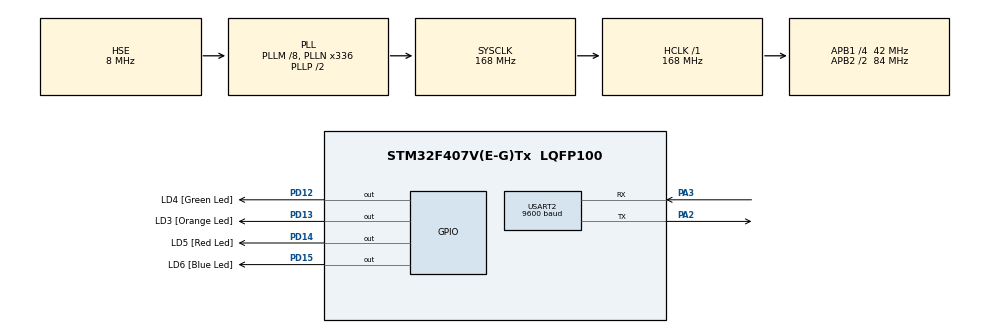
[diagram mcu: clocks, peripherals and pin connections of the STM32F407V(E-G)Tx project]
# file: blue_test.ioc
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Mcu.Family=STM32F4
Mcu.Name=STM32F407V(E-G)Tx
Mcu.Package=LQFP100
NVIC.PriorityGroup=NVIC_PRIORITYGROUP_0
NVIC.USART2_IRQn=true\:0\:0\:false\:false\:true\:true\:true
PA2.Mode=Asynchronous
PA2.Signal=USART2_TX
PA3.Mode=Asynchronous
PA3.Signal=USART2_RX
PC14-OSC32_IN.GPIO_Label=PC14-OSC32_IN
PC14-OSC32_IN.Mode=LSE-External-Oscillator
PC14-OSC32_IN.Signal=RCC_OSC32_IN
PC15-OSC32_OUT.GPIO_Label=PC15-OSC32_OUT
PC15-OSC32_OUT.Mode=LSE-External-Oscillator
PC15-OSC32_OUT.Signal=RCC_OSC32_OUT
PD12.GPIO_Label=LD4 [Green Led]
PD12.GPIO_PuPd=GPIO_NOPULL
PD12.GPIO_Speed=GPIO_SPEED_FREQ_LOW
PD12.Signal=GPIO_Output
PD13.GPIO_Label=LD3 [Orange Led]
PD13.GPIO_PuPd=GPIO_NOPULL
PD13.GPIO_Speed=GPIO_SPEED_FREQ_LOW
PD13.Signal=GPIO_Output
PD14.GPIO_Label=LD5 [Red Led]
PD14.GPIO_PuPd=GPIO_NOPULL
PD14.GPIO_Speed=GPIO_SPEED_FREQ_LOW
PD14.Signal=GPIO_Output
PD15.GPIO_Label=LD6 [Blue Led]
PD15.GPIO_PuPd=GPIO_NOPULL
PD15.GPIO_Speed=GPIO_SPEED_FREQ_LOW
PD15.Signal=GPIO_Output
PH0-OSC_IN.GPIO_Label=PH0-OSC_IN
PH0-OSC_IN.Mode=HSE-External-Oscillator
PH0-OSC_IN.Signal=RCC_OSC_IN
PH1-OSC_OUT.GPIO_Label=PH1-OSC_OUT
PH1-OSC_OUT.Mode=HSE-External-Oscillator
PH1-OSC_OUT.Signal=RCC_OSC_OUT
ProjectManager.HeapSize=0x200
ProjectManager.StackSize=0x400
ProjectManager.TargetToolchain=STM32CubeIDE
RCC.48MHZClocksFreq_Value=48000000
RCC.AHBFreq_Value=168000000
RCC.APB1CLKDivider=RCC_HCLK_DIV4
RCC.APB1Freq_Value=42000000
RCC.APB1TimFreq_Value=84000000
RCC.APB2CLKDivider=RCC_HCLK_DIV2
RCC.APB2Freq_Value=84000000
RCC.APB2TimFreq_Value=168000000
RCC.CortexFreq_Value=168000000
RCC.HCLKFreq_Value=168000000
RCC.HSE_VALUE=8000000
RCC.HSI_VALUE=16000000
RCC.PLLM=8
RCC.PLLN=336
RCC.PLLQ=7
RCC.PLLSourceVirtual=RCC_PLLSOURCE_HSE
RCC.SYSCLKFreq_VALUE=168000000
RCC.SYSCLKSource=RCC_SYSCLKSOURCE_PLLCLK
RCC.VCOOutputFreq_Value=336000000
USART2.BaudRate=9600
USART2.VirtualMode=VM_ASYNC
board=STM32F407G-DISC1

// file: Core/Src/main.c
/* USER CODE BEGIN Header */
/**
  ******************************************************************************
  * @file           : main.c
  * @brief          : Main program body
  ******************************************************************************
  * @attention
  *
  * <h2><center>&copy; Copyright (c) 2021 STMicroelectronics.
  * All rights reserved.</center></h2>
  *
  * This software component is licensed by ST under Ultimate Liberty license
  * SLA0044, the "License"; You may not use this file except in compliance with
  * the License. You may obtain a copy of the License at:
  *                             www.st.com/SLA0044
  *
  ******************************************************************************
  */
/* USER CODE END Header */
#include "main.h"
#include "usart.h"
#include "gpio.h"

/* USER CODE BEGIN Includes */
#include "usart_ring.h"
/* USER CODE END Includes */

/* USER CODE BEGIN PV */

UART_HandleTypeDef* blue_tooth_uart = NULL;

//#define buf_size (60)
//size_t  curr_index = 0;
//
//char buffer[buf_size]={0};

/* USER CODE END PV */

void SystemClock_Config(void);

/* USER CODE BEGIN 0 */

//void HAL_UART_RxCpltCallback(UART_HandleTypeDef *huart)
//
//{
//  if(huart==blue_tooth_uart)
//  {
//    if (buffer[curr_index] == 0x0a) { // отримали символ переносу рядка (тобто рядок введено)
//
//      buffer[curr_index] = 0;  // міняємо символ нового рядка на нуль-символ
//
//    //  do_command(buffer);  // виконуємо якусь команду
//
//      HAL_GPIO_TogglePin(GPIOD, GPIO_PIN_15);
//      HAL_UART_Transmit(blue_tooth_uart,(uint8_t*)buffer, curr_index-1, 1000);
//      curr_index = 0;
//    }
//    else if (curr_index == (buf_size-1)) // заповнили весь буфер, а кінець рядка не прийшов - значить почитаємо знову з початку
//      curr_index = 0;
//    else
//      curr_index++;  // виставляємо в наступну позицію буфера
//
//    HAL_UART_Receive_IT(blue_tooth_uart,(uint8_t*)(buffer + curr_index),1);
//  }
//}

/* USER CODE END 0 */

int main(void)
{

  /* MCU Configuration--------------------------------------------------------*/

  /* Reset of all peripherals, Initializes the Flash interface and the Systick. */
  HAL_Init();

  /* Configure the system clock */
  SystemClock_Config();

  /* Initialize all configured peripherals */
  MX_GPIO_Init();
  MX_USART2_UART_Init();
  /* USER CODE BEGIN 2 */
//  char buf[4];
//  HAL_UART_Receive(&MYUART, (uint8_t*) buf, 4, 100000);
//  __HAL_UART_ENABLE_IT(&MYUART, UART_IT_RXNE); // включить прерывания usart'a

//  #define SIZE_BF 32
  /* USER CODE END 2 */

  /* Infinite loop */
  /* USER CODE BEGIN WHILE */

//  HAL_Delay(500);
//  __HAL_UART_ENABLE_IT(blue_tooth_uart, UART_IT_RXNE);
//  HAL_Delay(100);
//  blue_tooth_uart = &huart2;
//  HAL_UART_Receive_IT(blue_tooth_uart,(uint8_t*)buffer,1);

  while (1)
  {
		uint8_t command;
		HAL_UART_Receive(&MYUART, &command,  sizeof command, 0xffff); // отправляем обратно что получили

		switch (command) {
		case 49:
			HAL_UART_Transmit(&MYUART,(uint8_t*)"hello", 5, 1000);
			break;
		case 50:
			HAL_UART_Transmit(&MYUART,(uint8_t*)"2", 1, 1000);
			break;
		case 51:
			HAL_UART_Transmit(&MYUART,(uint8_t*)"64736", 5, 1000);
			break;
		case 52:
			HAL_UART_Transmit(&MYUART,(uint8_t*)"224", 3, 1000);
			break;
		case 53:
			HAL_UART_Transmit(&MYUART,(uint8_t*)"5000", 4, 1000);
			break;
		}
    /* USER CODE END WHILE */

	}
}

void SystemClock_Config(void)
{
  RCC_OscInitTypeDef RCC_OscInitStruct = {0};
  RCC_ClkInitTypeDef RCC_ClkInitStruct = {0};

  /** Configure the main internal regulator output voltage
  */
  __HAL_RCC_PWR_CLK_ENABLE();
  __HAL_PWR_VOLTAGESCALING_CONFIG(PWR_REGULATOR_VOLTAGE_SCALE1);
  /** Initializes the RCC Oscillators according to the specified parameters
  * in the RCC_OscInitTypeDef structure.
  */
  RCC_OscInitStruct.OscillatorType = RCC_OSCILLATORTYPE_HSE;
  RCC_OscInitStruct.HSEState = RCC_HSE_ON;
  RCC_OscInitStruct.PLL.PLLState = RCC_PLL_ON;
  RCC_OscInitStruct.PLL.PLLSource = RCC_PLLSOURCE_HSE;
  RCC_OscInitStruct.PLL.PLLM = 8;
  RCC_OscInitStruct.PLL.PLLN = 336;
  RCC_OscInitStruct.PLL.PLLP = RCC_PLLP_DIV2;
  RCC_OscInitStruct.PLL.PLLQ = 7;
  if (HAL_RCC_OscConfig(&RCC_OscInitStruct) != HAL_OK)
  {
    Error_Handler();
  }
  /** Initializes the CPU, AHB and APB buses clocks
  */
  RCC_ClkInitStruct.ClockType = RCC_CLOCKTYPE_HCLK|RCC_CLOCKTYPE_SYSCLK
                              |RCC_CLOCKTYPE_PCLK1|RCC_CLOCKTYPE_PCLK2;
  RCC_ClkInitStruct.SYSCLKSource = RCC_SYSCLKSOURCE_PLLCLK;
  RCC_ClkInitStruct.AHBCLKDivider = RCC_SYSCLK_DIV1;
  RCC_ClkInitStruct.APB1CLKDivider = RCC_HCLK_DIV4;
  RCC_ClkInitStruct.APB2CLKDivider = RCC_HCLK_DIV2;

  if (HAL_RCC_ClockConfig(&RCC_ClkInitStruct, FLASH_LATENCY_5) != HAL_OK)
  {
    Error_Handler();
  }
}

void Error_Handler(void)
{
  __disable_irq();
  while (1)
  {
  }
}

/************************ (C) COPYRIGHT STMicroelectronics *****END OF FILE****/
